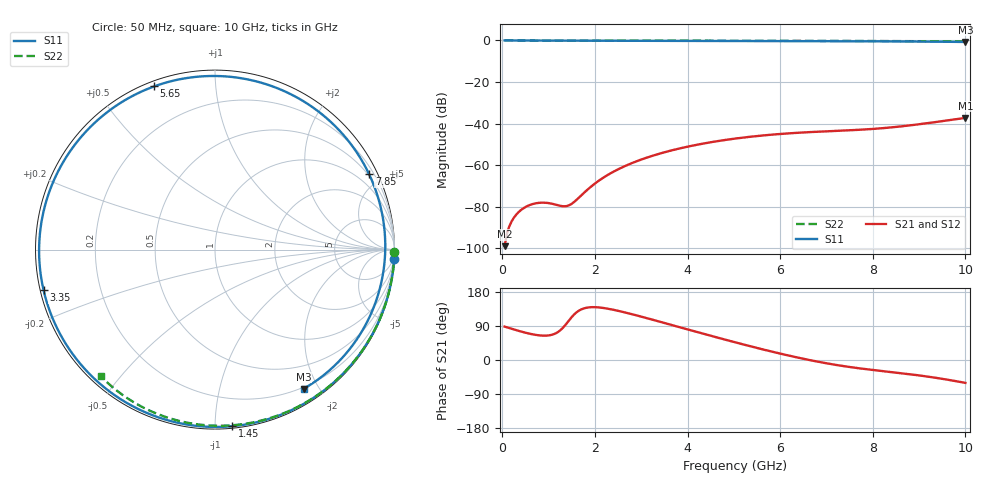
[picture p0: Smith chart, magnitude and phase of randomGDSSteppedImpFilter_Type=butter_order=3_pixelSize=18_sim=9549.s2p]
! freq	dB(S11)	phase(S11)	dB(S12)	phase(S12)
!  dB(S21)	phase(S21)	dB(S22)	phase(S22)
!S-par simulation data
#  GHz  S  DB  R 50
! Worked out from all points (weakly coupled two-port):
!   200 points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, 50 MHz to 10 GHz, reference 50 ohm
!   highest |S21| = -37.24 dB at 10 GHz (marker M1); lowest = -98.9 dB at 50 MHz (marker M2)
!   lowest |S11| = -0.7 dB at 10 GHz (marker M3), VSWR 23.85, Z = 8.99 - j90.3 ohm
!   |S11| at or under -10 dB: nowhere
!   |S22| runs from -0.4 to 0.0 dB; largest |S21 - S12| = 0
!   S11 on the Smith chart (normalised r, x): 50 MHz: 0, -36; 1.45 GHz: 0.01, -1.10; 3.35 GHz: 0.01, -0.12; 5.65 GHz: 0.02, +0.69; 7.85 GHz: 0.44, +4.28; 10 GHz: 0.18, -1.81
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0.05  -0.00 -3.2  -98.94 88.1  -98.94 88.1  -0.00 -0.8
0.4  -0.04 -24.8  -81.63 75.3  -81.63 75.3  -0.01 -6.1
0.8  -0.06 -48.7  -78.09 64.9  -78.09 64.9  -0.02 -12.1
1.1  -0.08 -65.7  -78.67 67.7  -78.67 67.7  -0.02 -16.6
1.3  -0.09 -76.6  -79.71 83.9  -79.71 83.9  -0.02 -19.6
1.45  -0.10 -84.4  -79.19 106.0  -79.19 106.0  -0.03 -21.9
1.75  -0.11 -99.4  -73.58 135.7  -73.58 135.7  -0.03 -26.3
2.1  -0.12 -115.8  -67.20 138.6  -67.20 138.6  -0.04 -31.5
2.55  -0.14 -135.3  -61.43 128.5  -61.43 128.5  -0.05 -38.0
2.95  -0.15 -151.4  -57.68 116.1  -57.68 116.1  -0.06 -43.7
3.35  -0.16 -166.7  -54.74 102.8  -54.74 102.8  -0.07 -49.4
3.4  -0.16 -168.6  -54.41 101.1  -54.41 101.1  -0.07 -50.1
4.2  -0.19 162.3  -50.18 74.0  -50.18 74.0  -0.09 -61.2
5.05  -0.23 132.1  -47.13 46.0  -47.13 46.0  -0.11 -72.5
5.65  -0.26 110.4  -45.64 27.2  -45.64 27.2  -0.13 -80.3
6.2  -0.29 90.1  -44.66 11.3  -44.66 11.3  -0.16 -87.3
6.7  -0.32 71.1  -44.01 -1.7  -44.01 -1.7  -0.18 -93.5
7.25  -0.35 49.7  -43.46 -13.9  -43.46 -13.9  -0.21 -100.2
7.85  -0.39 26.0  -42.78 -24.1  -42.78 -24.1  -0.25 -107.3
8.35  -0.44 6.2  -41.92 -31.1  -41.92 -31.1  -0.29 -113.2
9.1  -0.54 -23.1  -40.02 -42.3  -40.02 -42.3  -0.35 -121.8
10  -0.73 -57.6  -37.24 -60.4  -37.24 -60.4  -0.45 -132.1
